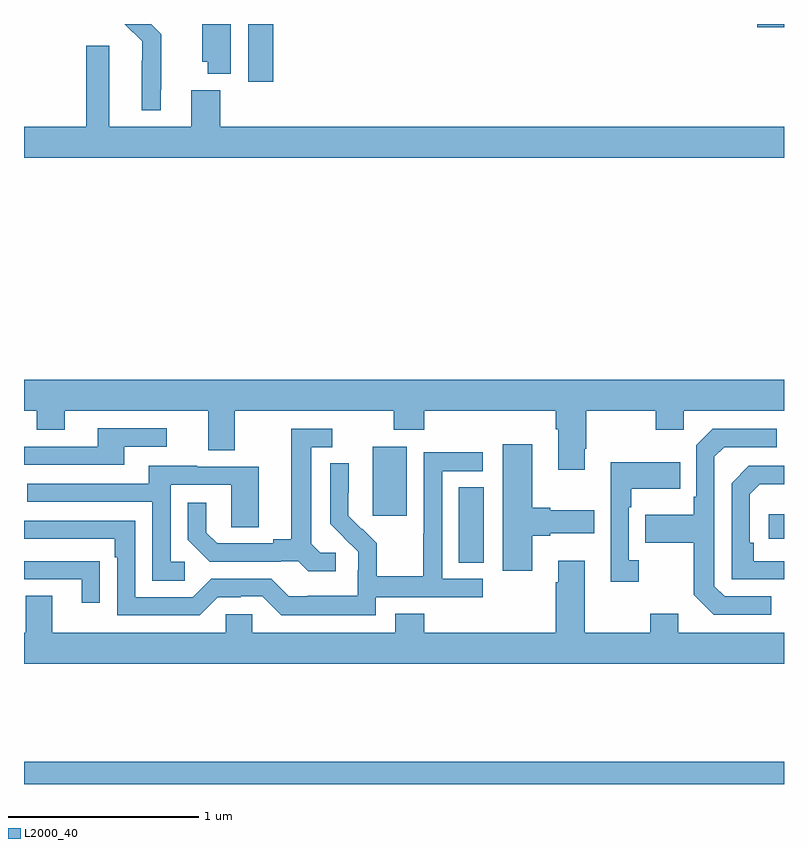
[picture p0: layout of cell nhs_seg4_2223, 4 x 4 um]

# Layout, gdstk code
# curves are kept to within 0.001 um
import gdstk
lib = gdstk.Library(unit=1e-6, precision=1e-09)
def R(c, l, rs):  # rectangles x0, y0, x1, y1
    for r in rs: c.add(gdstk.rectangle(r[:2], r[2:], *l))
def P(c, l, *ps):  # polygons
    for p in ps: c.add(gdstk.Polygon(p, *l))
L2000_40 = (2000, 40)

nhs_seg4_2223 = lib.new_cell('nhs_seg4_2223')
R(nhs_seg4_2223, L2000_40, [(227,750.9,231,751.016), (229.289,752.065,229.42,752.462), (230.919,752.19,231,752.32), (228.836,752.313,229.015,752.674), (228.179,754.596,228.311,754.9), (230.858,754.883,231,754.9)])
P(nhs_seg4_2223, L2000_40, [(227.719,754.555),(227.723,754.555),(227.723,754.846),(227.669,754.9),(227.53,754.9),(227.622,754.808),(227.622,754.706),(227.621,754.706),(227.621,754.445),(227.719,754.445)],
  [(228.088,754.9),(227.939,754.9),(227.939,754.701),(227.966,754.701),(227.966,754.637),(228.088,754.637)],
  [(231,754.36),(228.032,754.36),(228.032,754.552),(227.879,754.552),(227.879,754.36),(227.449,754.36),(227.449,754.786),(227.327,754.786),(227.327,754.36),(227,754.36),(227,754.196),(231,754.196)],
  [(229.951,752.665),(229.959,752.665),(229.959,752.864),(230.326,752.864),(230.326,752.765),(230.472,752.765),(230.472,752.864),(231,752.864),(231,753.028),(227,753.028),(227,752.864),(227.068,752.864),(227.068,752.765),(227.215,752.765),(227.215,752.864),(227.969,752.864),(227.969,752.656),(228.109,752.656),(228.109,752.864),(228.946,752.864),(228.946,752.765),(229.106,752.765),(229.106,752.864),(229.799,752.864),(229.799,752.768),(229.811,752.768),(229.811,752.553),(229.951,752.553)],
  [(227.527,752.676),(227.752,752.676),(227.752,752.772),(227.387,752.772),(227.387,752.676),(227,752.676),(227,752.58),(227.527,752.58)],
  [(228.64,752.118),(228.558,752.118),(228.511,752.165),(228.511,752.673),(228.622,752.673),(228.622,752.769),(228.407,752.769),(228.407,752.189),(228.311,752.189),(228.311,752.166),(228.016,752.166),(227.959,752.223),(227.959,752.38),(227.862,752.38),(227.862,752.186),(227.978,752.07),(228.35,752.07),(228.35,752.073),(228.444,752.073),(228.496,752.021),(228.64,752.021)],
  [(230.932,751.887),(230.688,751.887),(230.634,751.941),(230.634,752.622),(230.685,752.673),(230.962,752.673),(230.962,752.769),(230.625,752.769),(230.538,752.682),(230.538,752.413),(230.526,752.413),(230.526,752.317),(230.269,752.317),(230.269,752.17),(230.526,752.17),(230.526,751.897),(230.631,751.791),(230.932,751.791)],
  [(229.675,752.207),(229.771,752.207),(229.771,752.219),(230.002,752.219),(230.002,752.341),(229.771,752.341),(229.771,752.354),(229.675,752.354),(229.675,752.689),(229.52,752.689),(229.52,752.022),(229.675,752.022)],
  [(228.852,751.884),(229.414,751.884),(229.414,751.98),(229.2,751.98),(229.2,752.547),(229.414,752.547),(229.414,752.646),(229.104,752.646),(229.104,752.216),(229.102,752.216),(229.102,751.993),(228.857,751.993),(228.857,752.167),(228.78,752.244),(228.777,752.241),(228.707,752.312),(228.708,752.588),(228.612,752.588),(228.612,752.27),(228.758,752.122),(228.758,752.025),(228.756,752.025),(228.756,751.891),(228.493,751.891),(228.493,751.887),(228.393,751.887),(228.3,751.98),(227.985,751.98),(227.889,751.884),(227.586,751.884),(227.586,752.286),(227,752.286),(227,752.19),(227.477,752.19),(227.477,752.093),(227.49,752.093),(227.49,751.788),(227.925,751.788),(228.021,751.884),(228.14,751.884),(228.14,751.887),(228.255,751.887),(228.355,751.787),(228.852,751.787)],
  [(230.236,752.078),(230.184,752.078),(230.184,752.357),(230.197,752.357),(230.197,752.453),(230.453,752.453),(230.453,752.593),(230.088,752.593),(230.088,751.965),(230.236,751.965)],
  [(227.845,752.07),(227.772,752.07),(227.772,752.475),(228.09,752.475),(228.09,752.251),(228.235,752.251),(228.235,752.571),(227.911,752.571),(227.911,752.575),(227.657,752.575),(227.657,752.481),(227.017,752.481),(227.017,752.385),(227.676,752.385),(227.676,751.969),(227.845,751.969)],
  [(231,752.073),(230.84,752.073),(230.84,752.17),(230.82,752.17),(230.82,752.424),(230.873,752.477),(231,752.477),(231,752.574),(230.814,752.574),(230.724,752.484),(230.724,751.977),(231,751.977)],
  [(231,751.696),(230.443,751.696),(230.443,751.795),(230.296,751.795),(230.296,751.696),(229.951,751.696),(229.951,752.074),(229.811,752.074),(229.811,751.961),(229.799,751.961),(229.799,751.696),(229.106,751.696),(229.106,751.795),(228.953,751.795),(228.953,751.696),(228.201,751.696),(228.201,751.794),(228.063,751.794),(228.063,751.696),(227.149,751.696),(227.149,751.891),(227.009,751.891),(227.009,751.696),(227,751.696),(227,751.532),(231,751.532)],
  [(227.399,752.072),(227.297,752.072),(227.297,752.073),(227,752.073),(227,751.977),(227.303,751.977),(227.303,751.854),(227.399,751.854)])

lib.write_gds('nhs_seg4_2223.gds')
